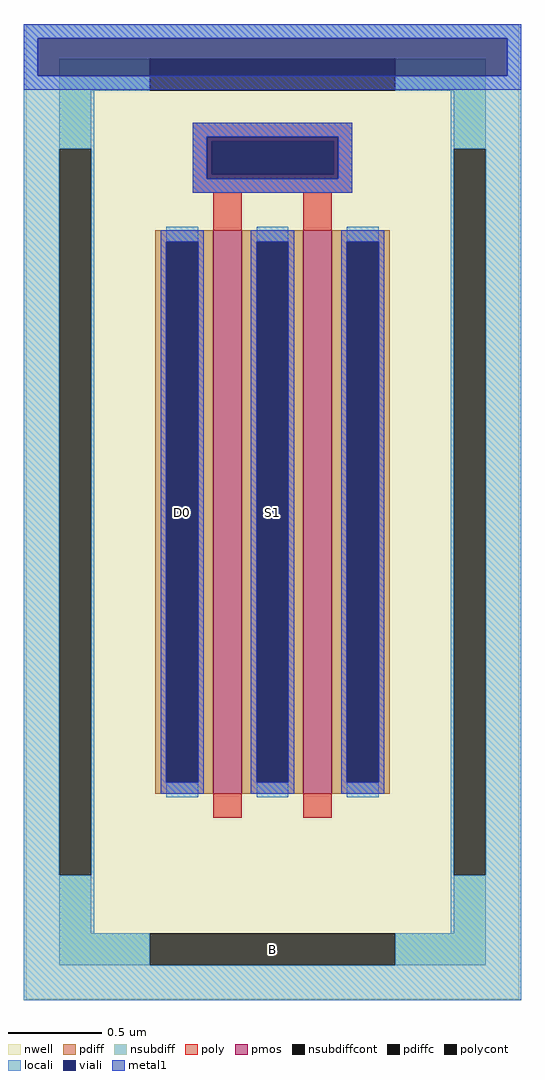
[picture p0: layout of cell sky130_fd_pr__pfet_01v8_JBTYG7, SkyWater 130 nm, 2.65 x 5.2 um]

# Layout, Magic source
magic
tech sky130A
magscale 1 2
<< nwell >>
rect -263 -519 263 519
<< pmos >>
rect -63 -300 -33 300
rect 33 -300 63 300
<< pdiff >>
rect -125 288 -63 300
rect -125 -288 -113 288
rect -79 -288 -63 288
rect -125 -300 -63 -288
rect -33 288 33 300
rect -33 -288 -17 288
rect 17 -288 33 288
rect -33 -300 33 -288
rect 63 288 125 300
rect 63 -288 79 288
rect 113 -288 125 288
rect 63 -300 125 -288
<< pdiffc >>
rect -113 -288 -79 288
rect -17 -288 17 288
rect 79 -288 113 288
<< nsubdiff >>
rect -227 449 -131 483
rect 131 449 227 483
rect -227 387 -193 449
rect 193 387 227 449
rect -227 -449 -193 -387
rect 193 -449 227 -387
rect -227 -483 -131 -449
rect 131 -483 227 -449
<< nsubdiffcont >>
rect -131 449 131 483
rect -227 -387 -193 387
rect 193 -387 227 387
rect -131 -483 131 -449
<< poly >>
rect -85 395 85 415
rect -85 360 -65 395
rect 65 360 85 395
rect -85 340 85 360
rect -63 300 -33 340
rect 33 300 63 340
rect -63 -326 -33 -300
rect 33 -326 63 -300
<< polycont >>
rect -65 360 65 395
<< locali >>
rect -265 505 265 520
rect -265 465 -250 505
rect 250 465 265 505
rect -265 449 -131 465
rect 131 449 265 465
rect -265 387 -190 449
rect -265 -387 -227 387
rect -193 -387 -190 387
rect -85 400 85 415
rect -85 355 -70 400
rect 70 355 85 400
rect -85 340 85 355
rect 190 387 265 449
rect -113 288 -79 304
rect -113 -304 -79 -288
rect -17 288 17 304
rect -17 -304 17 -288
rect 79 288 113 304
rect 79 -304 113 -288
rect -265 -449 -190 -387
rect 190 -387 193 387
rect 227 -387 265 387
rect 190 -449 265 -387
rect -265 -483 -131 -449
rect 131 -483 265 -449
rect -265 -520 265 -483
<< viali >>
rect -250 483 250 505
rect -250 465 -131 483
rect -131 465 131 483
rect 131 465 250 483
rect -70 395 70 400
rect -70 360 -65 395
rect -65 360 65 395
rect 65 360 70 395
rect -70 355 70 360
rect -113 -288 -79 288
rect -17 -288 17 288
rect 79 -288 113 288
<< metal1 >>
rect -265 505 265 520
rect -265 465 -250 505
rect 250 465 265 505
rect -265 450 265 465
rect -85 400 85 415
rect -85 355 -70 400
rect 70 355 85 400
rect -85 340 85 355
rect -119 288 -73 300
rect -119 -288 -113 288
rect -79 -288 -73 288
rect -119 -300 -73 -288
rect -23 288 23 300
rect -23 -288 -17 288
rect 17 -288 23 288
rect -23 -300 23 -288
rect 73 288 119 300
rect 73 -288 79 288
rect 113 -288 119 288
rect 73 -300 119 -288
<< labels >>
rlabel nsubdiffcont 0 -466 0 -466 0 B
port 1 nsew
rlabel pdiffc -96 0 -96 0 0 D0
port 2 nsew
rlabel pdiffc 0 0 0 0 0 S1
port 4 nsew
<< properties >>
string FIXED_BBOX -210 -466 210 466
string gencell sky130_fd_pr__pfet_01v8
string library sky130
string parameters w 3.0 l 0.15 m 1 nf 2 diffcov 100 polycov 100 guard 1 glc 1 grc 1 gtc 1 gbc 1 tbcov 100 rlcov 100 topc 1 botc 1 poverlap 0 doverlap 1 lmin 0.15 wmin 0.42 class mosfet compatible {sky130_fd_pr__pfet_01v8  sky130_fd_pr__pfet_01v8_lvt sky130_fd_pr__pfet_01v8_hvt  sky130_fd_pr__pfet_g5v0d10v5} full_metal 1 conn_gates 0 viasrc 100 viadrn 100 viagate 100 viagb 0 viagr 0 viagl 0 viagt 0 doports 1
<< end >>
